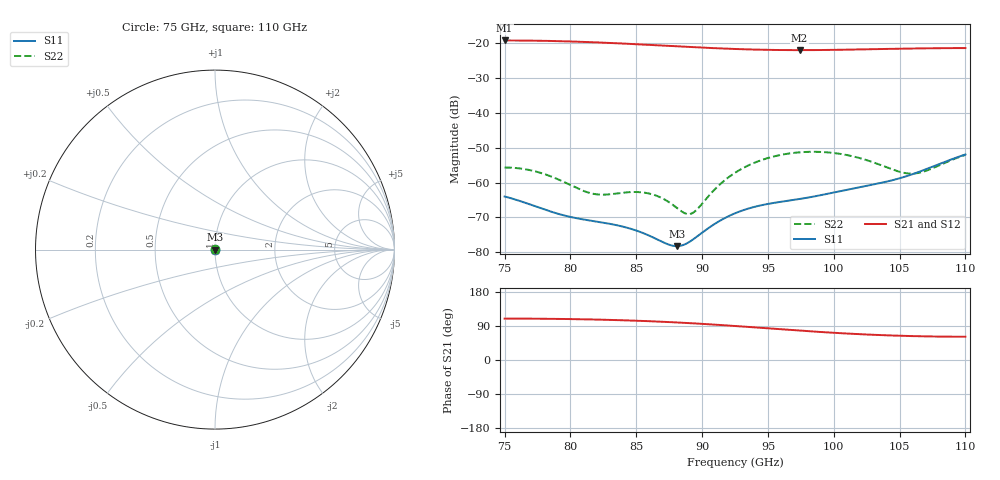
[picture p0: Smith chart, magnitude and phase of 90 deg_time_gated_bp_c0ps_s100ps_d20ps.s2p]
# Hz S RI R 50.000000
! Metas.Vna.Tools, 2.4.7724.19584
! Metas.Vna.Data, 2.4.7724.19560
! Created: UTC 2021.04.29 12:40:11
! FREQ  re:S1,1  im:S1,1  re:S2,1  im:S2,1  re:S1,2  im:S1,2  re:S2,2  im:S2,2
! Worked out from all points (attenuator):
!   1401 points, 75 GHz to 110 GHz, reference 50 ohm
!   highest |S21| = -19.17 dB at 75 GHz (marker M1); lowest = -22.0 dB at 97.4 GHz (marker M2)
!   lowest |S11| = -78.2 dB at 88.08 GHz (marker M3), VSWR 1.00, Z = 50 + j0.0103 ohm
!   |S11| at or under -10 dB: start of sweep to end of sweep
!   |S22| runs from -69.0 to -51.1 dB; largest |S21 - S12| = 0.0031
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7.5e10  0.000543 -0.000326  -0.0363 0.1038  -0.0334 0.1048  -2.21e-05 0.00165
7.6325e10  0.000366 -0.000387  -0.0361 0.1036  -0.0331 0.1046  -0.000237 0.00157
7.7675e10  0.000171 -0.000399  -0.0353 0.103  -0.0324 0.104  -0.00045 0.00132
8.085e10  -0.000188 -0.000233  -0.0316 0.1002  -0.0287 0.1011  -0.000704 0.000337
8.225e10  -0.000249 -0.000107  -0.0292 0.0985  -0.0263 0.0993  -0.000664 -0.000107
8.4275e10  -0.000218 6.08e-05  -0.0248 0.0956  -0.022 0.0963  -0.000462 -0.00056
8.555e10  -0.00014 0.000125  -0.0216 0.0936  -0.0188 0.0942  -0.000273 -0.000667
8.6675e10  -5.04e-05 0.000142  -0.0185 0.0918  -0.0158 0.0923  -8.66e-05 -0.000628
8.8075e10  6.57e-05 0.000103  -0.0143 0.0895  -0.0117 0.09  0.000154 -0.000407
8.88e10  0.000119 5.92e-05  -0.0121 0.0883  -0.00942 0.0888  0.000277 -0.000225
8.9325e10  0.000152 1.85e-05  -0.0104 0.0875  -0.00776 0.0879  0.000364 -6.98e-05
9.12e10  0.000216 -0.000167  -0.00415 0.0847  -0.00157 0.085  0.000653 0.000601
9.25e10  0.000197 -0.000305  0.000315 0.083  0.00287 0.0831  0.000827 0.00111
9.3575e10  0.000142 -0.000404  0.00405 0.0817  0.00659 0.0817  0.000951 0.00152
9.475e10  4.32e-05 -0.000483  0.00814 0.0804  0.0107 0.0803  0.00106 0.00191
9.74e10  -0.000272 -0.000515  0.0171 0.078  0.0196 0.0777  0.00118 0.00246
9.835e10  -0.000394 -0.000485  0.0202 0.0774  0.0227 0.077  0.00116 0.00252
1.012e11  -0.000708 -0.000386  0.0285 0.0761  0.031 0.0754  0.000811 0.00231
1.04175e11  -0.000893 -0.000554  0.0353 0.0754  0.0378 0.0745  -5.97e-05 0.00161
1.054e11  -0.000943 -0.000769  0.0374 0.0752  0.0399 0.0743  -0.00055 0.00126
1.06375e11  -0.000984 -0.001  0.0387 0.0752  0.0412 0.0742  -0.000975 0.000968
1.1e11  -0.00129 -0.00219  0.0409 0.0751  0.0435 0.0741  -0.0025 -5.6e-05
